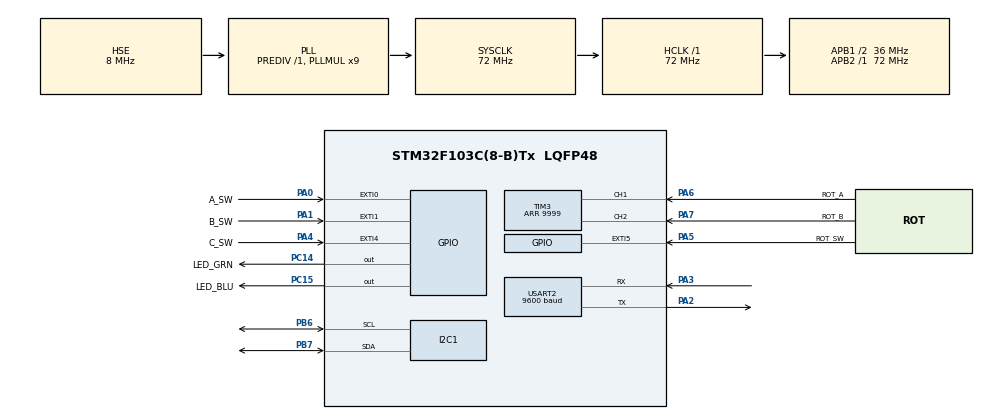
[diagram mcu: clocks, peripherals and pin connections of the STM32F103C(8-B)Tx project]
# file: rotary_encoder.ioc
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Dma.I2C1_TX.0.Direction=DMA_MEMORY_TO_PERIPH
Dma.I2C1_TX.0.Instance=DMA1_Channel6
Dma.I2C1_TX.0.MemDataAlignment=DMA_MDATAALIGN_BYTE
Dma.I2C1_TX.0.MemInc=DMA_MINC_ENABLE
Dma.I2C1_TX.0.Mode=DMA_NORMAL
Dma.I2C1_TX.0.PeriphDataAlignment=DMA_PDATAALIGN_BYTE
Dma.I2C1_TX.0.PeriphInc=DMA_PINC_DISABLE
Dma.I2C1_TX.0.Priority=DMA_PRIORITY_LOW
Dma.Request0=I2C1_TX
I2C1.I2C_Mode=I2C_Fast
Mcu.Family=STM32F1
Mcu.Name=STM32F103C(8-B)Tx
Mcu.Package=LQFP48
NVIC.DMA1_Channel6_IRQn=true\:0\:0\:false\:false\:true\:false\:true\:true
NVIC.EXTI0_IRQn=true\:0\:0\:false\:false\:true\:true\:true\:true
NVIC.EXTI1_IRQn=true\:0\:0\:false\:false\:true\:true\:true\:true
NVIC.EXTI4_IRQn=true\:0\:0\:false\:false\:true\:true\:true\:true
NVIC.EXTI9_5_IRQn=true\:0\:0\:false\:false\:true\:true\:true\:true
NVIC.I2C1_EV_IRQn=true\:0\:0\:false\:false\:true\:true\:true\:true
NVIC.PriorityGroup=NVIC_PRIORITYGROUP_4
NVIC.TIM3_IRQn=true\:0\:0\:false\:false\:true\:true\:true\:true
PA0-WKUP.GPIO_Label=A_SW
PA0-WKUP.GPIO_ModeDefaultEXTI=GPIO_MODE_IT_RISING
PA0-WKUP.Signal=GPXTI0
PA1.GPIO_Label=B_SW
PA1.GPIO_ModeDefaultEXTI=GPIO_MODE_IT_RISING
PA1.Signal=GPXTI1
PA13.Mode=Serial_Wire
PA13.Signal=SYS_JTMS-SWDIO
PA14.Mode=Serial_Wire
PA14.Signal=SYS_JTCK-SWCLK
PA2.Mode=Asynchronous
PA2.Signal=USART2_TX
PA3.Mode=Asynchronous
PA3.Signal=USART2_RX
PA4.GPIO_Label=C_SW
PA4.GPIO_ModeDefaultEXTI=GPIO_MODE_IT_FALLING
PA4.Signal=GPXTI4
PA5.GPIO_Label=ROT_SW
PA5.GPIO_ModeDefaultEXTI=GPIO_MODE_IT_RISING
PA5.Signal=GPXTI5
PA6.GPIO_Label=ROT_A
PA6.Signal=S_TIM3_CH1
PA7.GPIO_Label=ROT_B
PA7.Signal=S_TIM3_CH2
PB6.Mode=I2C
PB6.Signal=I2C1_SCL
PB7.Mode=I2C
PB7.Signal=I2C1_SDA
PC14-OSC32_IN.GPIO_Label=LED_GRN
PC14-OSC32_IN.Signal=GPIO_Output
PC15-OSC32_OUT.GPIO_Label=LED_BLU
PC15-OSC32_OUT.Signal=GPIO_Output
PD0-OSC_IN.Mode=HSE-External-Oscillator
PD0-OSC_IN.Signal=RCC_OSC_IN
PD1-OSC_OUT.Mode=HSE-External-Oscillator
PD1-OSC_OUT.Signal=RCC_OSC_OUT
ProjectManager.HeapSize=0x200
ProjectManager.StackSize=0x400
ProjectManager.TargetToolchain=STM32CubeIDE
RCC.AHBFreq_Value=72000000
RCC.APB1CLKDivider=RCC_HCLK_DIV2
RCC.APB1Freq_Value=36000000
RCC.APB1TimFreq_Value=72000000
RCC.APB2Freq_Value=72000000
RCC.APB2TimFreq_Value=72000000
RCC.HCLKFreq_Value=72000000
RCC.PLLMUL=RCC_PLL_MUL9
RCC.PLLSourceVirtual=RCC_PLLSOURCE_HSE
RCC.SYSCLKFreq_VALUE=72000000
RCC.SYSCLKSource=RCC_SYSCLKSOURCE_PLLCLK
RCC.USBFreq_Value=72000000
SH.S_TIM3_CH1.0=TIM3_CH1,Encoder_Interface
SH.S_TIM3_CH2.0=TIM3_CH2,Encoder_Interface
TIM3.EncoderMode=TIM_ENCODERMODE_TI12
TIM3.IC1Filter=10
TIM3.Period=9999
USART2.BaudRate=9600
USART2.VirtualMode=VM_ASYNC
board=custom

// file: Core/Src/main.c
/* USER CODE BEGIN Header */
/**
 ******************************************************************************
 * @file           : main.c
 * @brief          : Main program body
 ******************************************************************************
 * @attention
 *
 * Copyright (c) 2024 STMicroelectronics.
 * All rights reserved.
 *
 * This software is licensed under terms that can be found in the LICENSE file
 * in the root directory of this software component.
 * If no LICENSE file comes with this software, it is provided AS-IS.
 *
 ******************************************************************************
 */
/* USER CODE END Header */
#include "main.h"
#include "dma.h"
#include "i2c.h"
#include "tim.h"
#include "usart.h"
#include "gpio.h"

/* USER CODE BEGIN Includes */
#include "ssd1306.h"
#include "ssd1306_tests.h"
#include <stdbool.h>
#include <stdio.h>
#include <math.h>
#include <stdlib.h>

/* USER CODE END Includes */

/* USER CODE BEGIN PD */
#define MAX_DIGITS 				5

/*
 * MAXIMUM AND MINIMUM SETTINGS FOR LOAD
 */
#define MAX_CC_VALUE			5.0			// 5A maximum current
#define MIN_CC_VALUE			0.001		// 1mA minimum	current
#define MAX_CV_VALUE			30			// 30V maximum voltage
#define MIN_CV_VALUE			3			// 3V minimum voltage
#define MAX_CR_VALUE			10			// 10Ohm maximum resistance
#define MIN_CR_VALUE			0.1			// 100mOhm minimum resistance
#define MAX_CP_VALUE			99.999		// 99.999W maximum power CP is limited to 99.999Watt
#define MIN_CP_VALUE			1			// 1W minimum power

/* USER CODE END PD */

/* USER CODE BEGIN PV */
uint32_t tick;
uint32_t rotary_out, rot_pos, rot_cnt, rot_prev_pos = 0;
volatile uint8_t menu_flag = 0;

// Define menu states
typedef enum {
	HOME_SCREEN, MODE_SELECTION, PARAMETER_SETTING, RETURN_TO_HOME
} Menu_State_e;

typedef struct {
	float voltage;
	float current;
	float power;
	float resistance;
} Param_Mode_t;

// Define global variables
Menu_State_e current_state = HOME_SCREEN;
Param_Mode_t param_mode = { 0.0 };

int cursor_position = 0;
int mode_index = -1;  // Store the index of mode setting
int mode_index_last = -1;
int last_cursor_position = -1;
float volt = 0.0, curr = 0.0, chg = 0.0, temp = 0.0;
float param_value = 00.0, param_value_limit = 0.0;
uint8_t digit_position = 0;
int last_rot_cnt = 0;
uint16_t sw_a_cnt = 0, sw_b_cnt = 0, sw_c_cnt = 0;
bool sw_rot_state = false,
		sw_a_state = false,
		sw_b_state = false,
		sw_c_state = false;
bool adjusting_digit = false; // Flag to check if adjusting digit
volatile uint8_t digit_value = 0;
bool output_on_flag = false;
bool force_update;

uint16_t new_rot_pos, new_a_cnt ,new_b_cnt;
static uint16_t old_a_cnt = 0, old_b_cnt = 0, old_rot_pos = 0;

// 'ON', 140x81px
const unsigned char ON_BITMAP[] = { 0xff, 0xff, 0xff, 0xf8, 0xff, 0xff, 0xff,
		0xf8, 0xf8, 0x1f, 0x1f, 0x38, 0xf0, 0x0f, 0x0f, 0x38, 0xe1, 0xc7, 0x07,
		0x38, 0xe7, 0xe7, 0x07, 0x38, 0xc7, 0xe3, 0x03, 0x38, 0xc7, 0xe3, 0x23,
		0x38, 0xc7, 0xe3, 0x31, 0x38, 0xc7, 0xe3, 0x31, 0x38, 0xc7, 0xe3, 0x38,
		0x38, 0xc7, 0xe7, 0x38, 0x38, 0xe3, 0xc7, 0x3c, 0x38, 0xe0, 0x0f, 0x3e,
		0x38, 0xf8, 0x1f, 0x3e, 0x38, 0xff, 0xff, 0xff, 0xf8, 0xff, 0xff, 0xff,
		0xf8 };

// 'OFF', 29x16px
const unsigned char OFF_BITMAP[] = { 0xff, 0xff, 0xff, 0xf8, 0xff, 0xff, 0xff,
		0xf8, 0xe0, 0x78, 0x08, 0x08, 0xc0, 0x38, 0x08, 0x08, 0x87, 0x18, 0xf8,
		0xf8, 0x8f, 0x18, 0xf8, 0xf8, 0x8f, 0x88, 0xf8, 0xf8, 0x8f, 0x88, 0x18,
		0x18, 0x8f, 0x88, 0x18, 0x18, 0x8f, 0x98, 0xf8, 0xf8, 0x8f, 0x18, 0xf8,
		0xf8, 0x80, 0x18, 0xf8, 0xf8, 0xc0, 0x38, 0xf8, 0xf8, 0xf0, 0xf9, 0xfd,
		0xf8, 0xff, 0xff, 0xff, 0xf8, 0xff, 0xff, 0xff, 0xf8 };

/* USER CODE END PV */

void SystemClock_Config(void);
/* USER CODE BEGIN PFP */
void myOLED_char(uint16_t cursorX, uint16_t cursorY, char *data);
void myOLED_char_big(uint16_t cursorX, uint16_t cursorY, char *data);
void myOLED_float(uint16_t cursorX, uint16_t cursorY, float data);
void myOLED_float_big(uint16_t cursorX, uint16_t cursorY, float data);
void myOLED_int(uint16_t cursorX, uint16_t cursorY, uint16_t data);
void myOLED_int8(uint16_t cursorX, uint16_t cursorY, uint8_t data);
void Move_Cursor(void);
void Print_Mode(void);

// Function Prototypes
void display_home_screen(bool force_update);
void display_mode_selection(bool force_update);
void display_parameter_setting(bool force_update);
void update_encoder_state();
void handle_button_press();
void update_display();
void update_digit_value(int direction);
void update_parameter_value(int direction); // function to update parameter value
void put_parameter_limit(void);				// put limit on parameter values

/* USER CODE END PFP */

/* USER CODE BEGIN 0 */
//HAL_TIM_Encoder_Start_IT(&htim3, TIM_CHANNEL_ALL);
#ifdef __GNUC__
#define PUTCHAR_PROTOTYPE int __io_putchar(int ch)
#else
#define PUTCHAR_PROTOTYPE int fputc(int ch, FILE *f)
#endif

PUTCHAR_PROTOTYPE{
	HAL_UART_Transmit(&huart2, (uint8_t*) &ch, 1, HAL_MAX_DELAY);
	return ch;
}
/* USER CODE END 0 */

int main(void)
{

  /* MCU Configuration--------------------------------------------------------*/

  /* Reset of all peripherals, Initializes the Flash interface and the Systick. */
  HAL_Init();

  /* Configure the system clock */
  SystemClock_Config();

  /* Initialize all configured peripherals */
  MX_GPIO_Init();
  MX_DMA_Init();
  MX_TIM3_Init();
  MX_I2C1_Init();
  MX_USART2_UART_Init();
  /* USER CODE BEGIN 2 */
	HAL_TIM_Encoder_Start_IT(&htim3, TIM_CHANNEL_ALL);
	ssd1306_Init();
	update_display(); // Ensure the initial display is updated

	HAL_Delay(100);

  /* USER CODE END 2 */

  /* Infinite loop */
  /* USER CODE BEGIN WHILE */
	while(1){
		tick = HAL_GetTick();

		HAL_GPIO_TogglePin(LED_BLU_GPIO_Port, LED_BLU_Pin);

		update_encoder_state();
		handle_button_press();
		update_display();

//      printf("current_state %d\n\r", current_state);
//      printf("digit_position %d\n\r", digit_position);
//      printf("cursor_position %d\n\r", cursor_position);
//      printf("mode_index %d\n\r\v", mode_index);

		HAL_Delay(2); // Adjust the delay as needed
//      printf("hello");

    /* USER CODE END WHILE */

	}
}

void SystemClock_Config(void)
{
  RCC_OscInitTypeDef RCC_OscInitStruct = {0};
  RCC_ClkInitTypeDef RCC_ClkInitStruct = {0};

  /** Initializes the RCC Oscillators according to the specified parameters
  * in the RCC_OscInitTypeDef structure.
  */
  RCC_OscInitStruct.OscillatorType = RCC_OSCILLATORTYPE_HSE;
  RCC_OscInitStruct.HSEState = RCC_HSE_ON;
  RCC_OscInitStruct.HSEPredivValue = RCC_HSE_PREDIV_DIV1;
  RCC_OscInitStruct.HSIState = RCC_HSI_ON;
  RCC_OscInitStruct.PLL.PLLState = RCC_PLL_ON;
  RCC_OscInitStruct.PLL.PLLSource = RCC_PLLSOURCE_HSE;
  RCC_OscInitStruct.PLL.PLLMUL = RCC_PLL_MUL9;
  if (HAL_RCC_OscConfig(&RCC_OscInitStruct) != HAL_OK)
  {
    Error_Handler();
  }

  /** Initializes the CPU, AHB and APB buses clocks
  */
  RCC_ClkInitStruct.ClockType = RCC_CLOCKTYPE_HCLK|RCC_CLOCKTYPE_SYSCLK
                              |RCC_CLOCKTYPE_PCLK1|RCC_CLOCKTYPE_PCLK2;
  RCC_ClkInitStruct.SYSCLKSource = RCC_SYSCLKSOURCE_PLLCLK;
  RCC_ClkInitStruct.AHBCLKDivider = RCC_SYSCLK_DIV1;
  RCC_ClkInitStruct.APB1CLKDivider = RCC_HCLK_DIV2;
  RCC_ClkInitStruct.APB2CLKDivider = RCC_HCLK_DIV1;

  if (HAL_RCC_ClockConfig(&RCC_ClkInitStruct, FLASH_LATENCY_2) != HAL_OK)
  {
    Error_Handler();
  }
}

/* USER CODE BEGIN 4 */
void HAL_TIM_IC_CaptureCallback(TIM_HandleTypeDef *htim){
	rotary_out = __HAL_TIM_GET_COUNTER(htim);
	rot_cnt = rotary_out / 4;
}

void HAL_GPIO_EXTI_Callback(uint16_t GPIO_Pin){
	switch(GPIO_Pin){
	case ROT_SW_Pin:
		sw_rot_state = true;
		break;
	case A_SW_Pin:
		sw_a_state = true;
		sw_a_cnt++;
		break;
	case B_SW_Pin:
		sw_b_state = true;
		sw_b_cnt++;
		break;
	case C_SW_Pin:
		sw_c_state = true;
		sw_c_cnt++;
		break;
	default:
		break;
	}
}

void myOLED_char(uint16_t cursorX, uint16_t cursorY, char *data){

	ssd1306_SetCursor(cursorX, cursorY);
	ssd1306_WriteString(data, Font_7x10, White);
}

void myOLED_char_big(uint16_t cursorX, uint16_t cursorY, char *data){

	ssd1306_SetCursor(cursorX, cursorY);
	ssd1306_WriteString(data, Font_11x18, White);
}

void myOLED_float(uint16_t cursorX, uint16_t cursorY, float data){
	char str_data[10];

	sprintf(str_data, "%.3f", data);
	ssd1306_SetCursor(cursorX, cursorY);
	ssd1306_WriteString(str_data, Font_7x10, White);
}

void myOLED_float_big(uint16_t cursorX, uint16_t cursorY, float data){
	char str_data[10];

	sprintf(str_data, "%.3f", data);
	ssd1306_SetCursor(cursorX, cursorY);
	ssd1306_WriteString(str_data, Font_11x18, White);
}

void myOLED_int(uint16_t cursorX, uint16_t cursorY, uint16_t data){
	char str_data[10];

	sprintf(str_data, "%u", data);
	ssd1306_SetCursor(cursorX, cursorY);
	ssd1306_WriteString(str_data, Font_7x10, White);
}

void myOLED_int8(uint16_t cursorX, uint16_t cursorY, uint8_t data){
	char str_data[10];

	sprintf(str_data, "%d", data);
	ssd1306_SetCursor(cursorX, cursorY);
	ssd1306_WriteString(str_data, Font_7x10, White);
}

// Update Display
void update_display(){
	static Menu_State_e last_state = HOME_SCREEN;
	static bool first_update = true;
	force_update = (current_state != last_state) || first_update || !output_on_flag;

	if(force_update){
		last_state = current_state;
		last_cursor_position = -1; // Force full update on state change
		first_update = false;
	}

	// Handle cursor position updates separately
	bool cursor_changed = (cursor_position != last_cursor_position);

	switch(current_state){
	case HOME_SCREEN:
		display_home_screen(force_update || cursor_changed);
		break;
	case MODE_SELECTION:
		display_mode_selection(force_update || cursor_changed);
		break;
	case PARAMETER_SETTING:
		display_parameter_setting(force_update || cursor_changed);
		break;
	case RETURN_TO_HOME:
		current_state = HOME_SCREEN;
		break;
	default:
		break;
	}
	last_cursor_position = cursor_position;
}

// Display Home Screen
void display_home_screen(bool force_update){
	if(force_update || output_on_flag){
		ssd1306_Fill(Black);			// Clear the display before printing
		myOLED_char_big(0, 0, "V:");
		myOLED_float_big(21, 0, volt);
		myOLED_char_big(0, 18, "C:");
		myOLED_float_big(21, 18, curr);
		myOLED_char_big(0, 36, "Q:");
		myOLED_float_big(21, 36, chg);
		myOLED_char(0, 54, "t:");
		myOLED_int(15, 54, (uint16_t)temp);
		ssd1306_Line(78, 0, 78, 50, White);	// Draw line to separate the values and options
		myOLED_char(90, 0, "<SET>");			// SET MODE
		myOLED_char(90, 10, "<ON>");			// Turn ON LOAD
		myOLED_char(90, 20, "<RST>");			// Reset the LOAD

		// Show ON or OFF bitmap on display for LOAD status
		if(output_on_flag){
//			output_on_flag = false;									// Change the flag state
			myOLED_char(90, 10, "<OFF>");							// Print OFF in ON position if button is pressed
			ssd1306_DrawBitmap(90, 31, ON_BITMAP, 29, 16, White);	//	Draw ON bitmap
		}else{
			ssd1306_DrawBitmap(90, 31, OFF_BITMAP, 29, 16, White);	// Draw OFF bitmap
		}
	}

	// Update cursor only
	uint8_t scroll_num = 3;
	for(int i = 0; i < scroll_num; i++){
		if(i == cursor_position){
			myOLED_char(82, i * 10, ">");
		}else{
			myOLED_char(82, i * 10, " ");
		}
	}

	// Display the param value and mode if it is set
	if(current_state == 0){
		uint8_t x_mode = 50;
		uint8_t y_mode = 54;
		uint8_t x_val = 80;
		uint8_t y_val = 54;

		ssd1306_Line(45, y_mode, 45, 64, White);		// Draw line
		switch(mode_index){
		case 0:
			myOLED_char(x_mode, y_mode, "CC:");
			myOLED_float(x_val, y_val, param_mode.current);
			break;
		case 1:
			myOLED_char(x_mode, y_mode, "CV:");
			myOLED_float(x_val, y_val, param_mode.voltage);
			break;
		case 2:
			myOLED_char(x_mode, y_mode, "CP:");
			myOLED_float(x_val, y_val, param_mode.power);
			break;
		case 3:
			myOLED_char(x_mode, y_mode, "CR:");
			myOLED_float(x_val, y_val, param_mode.resistance);
			break;
		default:
			break;
		}
	}

	ssd1306_UpdateScreen();
}

// Display Mode Selection Screen
void display_mode_selection(bool force_update){
	const char *modes[] = { "CC", "CV", "CP", "CR" };
	if(force_update){
		ssd1306_Fill(Black); // Clear the screen
		for(int i = 0; i < 4; i++){
			myOLED_char(15, i * 10, (char*) modes[i]); // Print modes in column
		}
	}

	// Update cursor only
	uint8_t num_of_modes = 4;
	for(int i = 0; i < num_of_modes; i++){
		if(i == cursor_position){
			myOLED_char(0, i * 10, "->");
		}else{
			myOLED_char(0, i * 10, "  ");
		}
	}

	myOLED_char(5, 50, "<SELECT THE MODE>");
	ssd1306_UpdateScreen();
}

void display_parameter_setting(bool force_update){
	if(force_update){
		// Redraw entire screen if forced
		ssd1306_Fill(Black);
		myOLED_char(0, 0, "Set Value:");

		// Check the state and print the mode in parameter setting screen
		if(current_state == 2){
			myOLED_char(0, 42, "MIN:");
			myOLED_char(0, 52, "MAX:");
			switch(mode_index){
			case 0:
				myOLED_char(70, 0, "CC");
				myOLED_char(70, 20, "Amp");
				myOLED_float(35, 42, (float)MIN_CC_VALUE);
				myOLED_float(35, 52, (float)MAX_CC_VALUE);
				break;
			case 1:
				myOLED_char(70, 0, "CV");
				myOLED_char(70, 20, "Volt");
				myOLED_float(35, 42, (float)MIN_CV_VALUE);
				myOLED_float(35, 52, (float)MAX_CV_VALUE);
				break;
			case 2:
				myOLED_char(70, 0, "CP");
				myOLED_char(70, 20, "Watt");
				myOLED_float(35, 42, (float)MIN_CP_VALUE);
				myOLED_float(35, 52, (float)MAX_CP_VALUE);
				break;
			case 3:
				myOLED_char(70, 0, "CR");
				myOLED_char(70, 20, "Ohm");
				myOLED_float(35, 42, (float)MIN_CR_VALUE);
				myOLED_float(35, 52, (float)MAX_CR_VALUE);
				break;
			default:
				break;
			}
		}
	}

	// Fetch the current mode's parameter value
	float display_value;

	switch(mode_index){
	case 0:
		display_value = param_mode.current;
		break;
	case 1:
		display_value = param_mode.voltage;
		break;
	case 2:
		display_value = param_mode.power;
		break;
	case 3:
		display_value = param_mode.resistance;
		break;
	default:
		display_value = 0.0f;
		break;
	}

	// Display the value with proper formatting
	if(display_value >= 10.000){
		myOLED_float(0, 20, display_value);
	}else{
		myOLED_float(7, 20, display_value);
		myOLED_int(0, 20, 0);  // Print "0" at the first location
	}

	// Clear previous cursor position by redrawing the entire line
	myOLED_char(0, 30, "         ");
	// Draw cursor under the digit
	uint8_t cursor_x;
	cursor_x = digit_position * 7;		// 7 pixels width per character
	myOLED_char(cursor_x, 30, "^");  	// Draw the cursor

	// Refresh the display after updating
	ssd1306_UpdateScreen();
}

// Update Encoder State
void update_encoder_state(){
	new_rot_pos = rot_cnt;

	if(new_rot_pos > old_rot_pos){
		if(current_state == PARAMETER_SETTING){
			if(adjusting_digit){
				update_parameter_value(1); // Increment digit
			}
		}else{
			cursor_position++;
		}
	}else if(new_rot_pos < old_rot_pos){
		if(current_state == PARAMETER_SETTING){
			if(adjusting_digit){
				update_parameter_value(-1); // Decrement digit
			}
		}else{
			cursor_position--;
		}
	}
	old_rot_pos = new_rot_pos;
	put_parameter_limit();		// put limit on parameter values based on mode

	// putting limits
	if(cursor_position < 0)
		cursor_position = 0;
	if(current_state == HOME_SCREEN && cursor_position > 2)
		cursor_position = 2;
	if(current_state == MODE_SELECTION && cursor_position > 3)
		cursor_position = 3;
	if(current_state == PARAMETER_SETTING && digit_position > MAX_DIGITS)
		digit_position = MAX_DIGITS;
//	if(digit_position < 0)
//		digit_position = 0;
}

// Update parameter value
void update_parameter_value(int direction){
	// Convert the whole value to an integer, treating it as 00.000 (in this case, a 5-digit number)
	int full_value = (int) (param_value * 1000);

	// Determine the position and multiplier
	int multiplier = 1;

	switch(digit_position){
	case 0:
		multiplier = 10000; // Corresponds to the tens digit of the integer part
		break;
	case 1:
		multiplier = 1000; // Corresponds to the units digit of the integer part
		break;
	case 2:
		// Do nothing as this is the decimal point
		return;
	case 3:
		multiplier = 100; // Corresponds to the first digit after the decimal point
		break;
	case 4:
		multiplier = 10; // Corresponds to the second digit after the decimal point
		break;
	case 5:
		multiplier = 1; // Corresponds to the third digit after the decimal point
		break;
	}

	// Store the original integer part before updating
	int original_integer_part = full_value / 1000;

	// Update the selected digit
	full_value += direction * multiplier;

	// Wrap the relevant digit only
	if(digit_position <= 1){  // If modifying the integer part
		if(full_value < 0){
			full_value += 100000;  // Wrap within the range of 00.000 to 99.999
		}else if(full_value >= 100000){
			full_value -= 100000;
		}
	}else{  // If modifying the fractional part
		int fractional_int = full_value % 1000;
		if(fractional_int < 0){
			fractional_int += 1000;  // Wrap within the range of 000 to 999
		}else if(fractional_int >= 1000){
			fractional_int -= 1000;
		}
		full_value = (original_integer_part * 1000) + fractional_int;
	}

	// Convert back to floating-point value
	param_value = full_value / 1000.0;

	// Debug: Print the updated param_value
//    printf("Updated param_value: %05d.%03d\n\r", full_value / 1000, full_value % 1000);
}

// Put limit on parameter value
void put_parameter_limit(){
	// RESET the param_value if mode is changed
	if(mode_index_last != mode_index){
		param_value = 0.0;
		mode_index_last = mode_index;
	}

	// check the MIN and MAX value of each mode to set limits on the value.
	if(current_state == 2){
		switch(mode_index){
		case 0:
			if(param_value >= MAX_CC_VALUE){
				param_value = MAX_CC_VALUE;
			}else if(param_value <= MIN_CC_VALUE){
				param_value = MIN_CC_VALUE;
			}
			param_mode.current = param_value;
			break;
		case 1:
			if(param_value >= MAX_CV_VALUE){
				param_value = MAX_CV_VALUE;
			}else if(param_value <= MIN_CV_VALUE){
				param_value = MIN_CV_VALUE;
			}
			param_mode.voltage = param_value;
			break;
		case 2:
			if(param_value >= MAX_CP_VALUE){
				param_value = MAX_CP_VALUE;
			}else if(param_value <= MIN_CP_VALUE){
				param_value = MIN_CP_VALUE;
			}
			param_mode.power = param_value;
			break;
		case 3:
			if(param_value >= MAX_CR_VALUE){
				param_value = MAX_CR_VALUE;
			}else if(param_value <= MIN_CR_VALUE){
				param_value = MIN_CR_VALUE;
			}
			param_mode.resistance = param_value;
			break;
		default:
			break;
		}
	}
}

void handle_button_press(){
	new_a_cnt = sw_a_cnt;
	new_b_cnt = sw_b_cnt;

	if(sw_c_state){
		switch(current_state){
		case HOME_SCREEN:
			if(cursor_position == 0){
				current_state = MODE_SELECTION;		// GoTo MODE SELECTION PAGE
				output_on_flag = false;				// turn off when page is changed
			}else if(cursor_position == 1 && (!output_on_flag)){
				output_on_flag = true;
				// Handle "TURN ON" functionality
			}else if(cursor_position == 1 && output_on_flag){
				output_on_flag = false;
				force_update = true;
				// Handle "TURN ON" functionality
			}else if(cursor_position == 2){			// Reset everything
				current_state = HOME_SCREEN;// not necessary to reset current_state
				cursor_position = 0;
				mode_index = -1;
				param_value = 0.0;
				output_on_flag = false;
			}
			adjusting_digit = false;			// Disable adjusting in param setting
			break;
		case MODE_SELECTION:
			current_state = PARAMETER_SETTING;			// go to next state
			mode_index = cursor_position;
			cursor_position = 0;
			digit_position = 0;
			adjusting_digit = false;
			break;
		case PARAMETER_SETTING:
			if(sw_c_state){// Return to home by saving param value
			current_state = RETURN_TO_HOME;
			digit_position = 0;
			}
			break;
		default:
			break;
		}
		sw_c_state = false; // Reset button state
	}

	if(current_state == PARAMETER_SETTING) {
		adjusting_digit = true;
	}else adjusting_digit = false;

	if(new_b_cnt > old_b_cnt){
		digit_position++;
	}else if(new_a_cnt > old_a_cnt) {
		digit_position--;
	}
	old_b_cnt = new_b_cnt;
	old_a_cnt = new_a_cnt;
}

/* USER CODE END 4 */

void Error_Handler(void)
{
	__disable_irq();
	while(1){
	}
}
